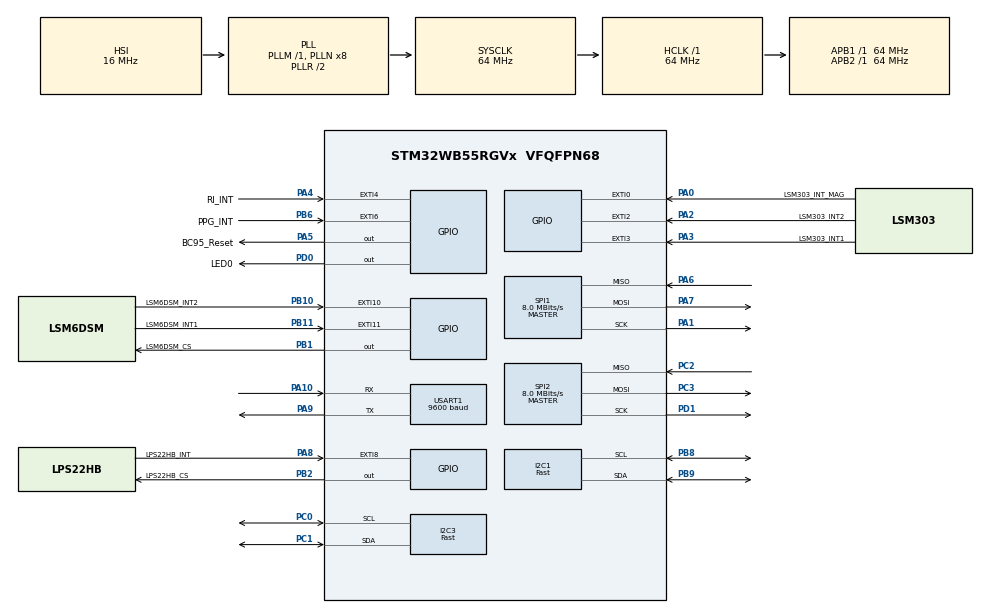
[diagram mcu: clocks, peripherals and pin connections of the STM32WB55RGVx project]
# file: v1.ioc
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Dma.MEMTOMEM.0.Direction=DMA_MEMORY_TO_MEMORY
Dma.MEMTOMEM.0.EventEnable=DISABLE
Dma.MEMTOMEM.0.Instance=DMA1_Channel1
Dma.MEMTOMEM.0.MemDataAlignment=DMA_MDATAALIGN_BYTE
Dma.MEMTOMEM.0.MemInc=DMA_MINC_ENABLE
Dma.MEMTOMEM.0.Mode=DMA_NORMAL
Dma.MEMTOMEM.0.PeriphDataAlignment=DMA_PDATAALIGN_BYTE
Dma.MEMTOMEM.0.PeriphInc=DMA_PINC_ENABLE
Dma.MEMTOMEM.0.Polarity=HAL_DMAMUX_REQ_GEN_RISING
Dma.MEMTOMEM.0.Priority=DMA_PRIORITY_LOW
Dma.MEMTOMEM.0.RequestNumber=1
Dma.MEMTOMEM.0.SignalID=NONE
Dma.MEMTOMEM.0.SyncEnable=DISABLE
Dma.MEMTOMEM.0.SyncPolarity=HAL_DMAMUX_SYNC_NO_EVENT
Dma.MEMTOMEM.0.SyncRequestNumber=1
Dma.MEMTOMEM.0.SyncSignalID=NONE
Dma.Request0=MEMTOMEM
Dma.Request1=USART1_RX
Dma.USART1_RX.1.Direction=DMA_PERIPH_TO_MEMORY
Dma.USART1_RX.1.EventEnable=DISABLE
Dma.USART1_RX.1.Instance=DMA1_Channel2
Dma.USART1_RX.1.MemDataAlignment=DMA_MDATAALIGN_BYTE
Dma.USART1_RX.1.MemInc=DMA_MINC_ENABLE
Dma.USART1_RX.1.Mode=DMA_CIRCULAR
Dma.USART1_RX.1.PeriphDataAlignment=DMA_PDATAALIGN_BYTE
Dma.USART1_RX.1.PeriphInc=DMA_PINC_DISABLE
Dma.USART1_RX.1.Polarity=HAL_DMAMUX_REQ_GEN_RISING
Dma.USART1_RX.1.Priority=DMA_PRIORITY_LOW
Dma.USART1_RX.1.RequestNumber=1
Dma.USART1_RX.1.SignalID=NONE
Dma.USART1_RX.1.SyncEnable=DISABLE
Dma.USART1_RX.1.SyncPolarity=HAL_DMAMUX_SYNC_NO_EVENT
Dma.USART1_RX.1.SyncRequestNumber=1
Dma.USART1_RX.1.SyncSignalID=NONE
FREERTOS.INCLUDE_eTaskGetState=1
FREERTOS.INCLUDE_xEventGroupSetBitFromISR=1
FREERTOS.INCLUDE_xTaskGetCurrentTaskHandle=1
FREERTOS.INCLUDE_xTimerPendFunctionCall=1
FREERTOS.MEMORY_ALLOCATION=2
FREERTOS.Tasks01=defaultTask,0,128,StartDefaultTask,Default,NULL,Dynamic,NULL,NULL
FREERTOS.configENABLE_FPU=1
FREERTOS.configTOTAL_HEAP_SIZE=8000
FREERTOS.configUSE_COUNTING_SEMAPHORES=0
FREERTOS.configUSE_TICKLESS_IDLE=2
FREERTOS.configUSE_TIMERS=1
I2C1.I2C_Speed_Mode=I2C_Fast
I2C1.Timing=0x00602173
I2C3.I2C_Speed_Mode=I2C_Fast
I2C3.Timing=0x00602173
Mcu.Family=STM32WB
Mcu.Name=STM32WB55RGVx
Mcu.Package=VFQFPN68
NVIC.DMA1_Channel2_IRQn=true\:5\:0\:true\:false\:true\:true\:false\:true
NVIC.EXTI0_IRQn=true\:10\:0\:true\:false\:true\:false\:true\:true
NVIC.EXTI15_10_IRQn=true\:10\:0\:true\:false\:true\:false\:true\:true
NVIC.EXTI2_IRQn=true\:10\:0\:true\:false\:true\:false\:true\:true
NVIC.EXTI3_IRQn=true\:10\:0\:true\:false\:true\:false\:true\:true
NVIC.EXTI9_5_IRQn=true\:11\:0\:true\:false\:true\:false\:true\:true
NVIC.PriorityGroup=NVIC_PRIORITYGROUP_4
NVIC.TIM1_UP_TIM16_IRQn=true\:0\:0\:false\:false\:true\:false\:false\:true
NVIC.TimeBase=TIM1_UP_TIM16_IRQn
NVIC.TimeBaseIP=TIM1
OSC_IN.Mode=HSE-External-Oscillator
OSC_IN.Signal=RCC_OSC_IN
OSC_OUT.Mode=HSE-External-Oscillator
OSC_OUT.Signal=RCC_OSC_OUT
PA0.GPIO_Label=LSM303_INT_MAG
PA0.Signal=GPXTI0
PA1.GPIO_Speed=GPIO_SPEED_FREQ_HIGH
PA1.Mode=Full_Duplex_Master
PA1.Signal=SPI1_SCK
PA10.Mode=Asynchronous
PA10.Signal=USART1_RX
PA13.Mode=JTAG_5_pins
PA13.Signal=SYS_JTMS-SWDIO
PA14.Mode=JTAG_5_pins
PA14.Signal=SYS_JTCK-SWCLK
PA15.Mode=JTAG_5_pins
PA15.Signal=SYS_JTDI
PA2.GPIO_Label=LSM303_INT2
PA2.GPIO_ModeDefaultEXTI=GPIO_MODE_IT_RISING
PA2.Signal=GPXTI2
PA3.GPIO_Label=LSM303_INT1
PA3.Signal=GPXTI3
PA4.GPIO_Label=RI_INT
PA4.Signal=GPXTI4
PA5.GPIO_Label=BC95_Reset
PA5.PinState=GPIO_PIN_SET
PA5.Signal=GPIO_Output
PA6.GPIO_Speed=GPIO_SPEED_FREQ_HIGH
PA6.Mode=Full_Duplex_Master
PA6.Signal=SPI1_MISO
PA7.GPIO_Speed=GPIO_SPEED_FREQ_HIGH
PA7.Mode=Full_Duplex_Master
PA7.Signal=SPI1_MOSI
PA8.GPIO_Label=LPS22HB_INT
PA8.Signal=GPXTI8
PA9.Mode=Asynchronous
PA9.Signal=USART1_TX
PB1.GPIO_Label=LSM6DSM_CS
PB1.GPIO_Speed=GPIO_SPEED_FREQ_HIGH
PB1.PinState=GPIO_PIN_SET
PB1.Signal=GPIO_Output
PB10.GPIO_Label=LSM6DSM_INT2
PB10.Signal=GPXTI10
PB11.GPIO_Label=LSM6DSM_INT1
PB11.Signal=GPXTI11
PB2.GPIO_Label=LPS22HB_CS
PB2.GPIO_Speed=GPIO_SPEED_FREQ_HIGH
PB2.PinState=GPIO_PIN_SET
PB2.Signal=GPIO_Output
PB3.Mode=JTAG_5_pins
PB3.Signal=SYS_JTDO-SWO
PB4.Mode=JTAG_5_pins
PB4.Signal=SYS_JTRST
PB6.GPIO_Label=PPG_INT
PB6.GPIO_ModeDefaultEXTI=GPIO_MODE_IT_FALLING
PB6.GPIO_PuPd=GPIO_PULLUP
PB6.Signal=GPXTI6
PB8.GPIO_Speed=GPIO_SPEED_FREQ_HIGH
PB8.Mode=I2C
PB8.Signal=I2C1_SCL
PB9.GPIO_Speed=GPIO_SPEED_FREQ_HIGH
PB9.Mode=I2C
PB9.Signal=I2C1_SDA
PC0.Mode=I2C
PC0.Signal=I2C3_SCL
PC1.Mode=I2C
PC1.Signal=I2C3_SDA
PC14-OSC32_IN.Mode=LSE-External-Oscillator
PC14-OSC32_IN.Signal=RCC_OSC32_IN
PC15-OSC32_OUT.Mode=LSE-External-Oscillator
PC15-OSC32_OUT.Signal=RCC_OSC32_OUT
PC2.GPIO_Speed=GPIO_SPEED_FREQ_HIGH
PC2.Mode=Full_Duplex_Master
PC2.Signal=SPI2_MISO
PC3.GPIO_Speed=GPIO_SPEED_FREQ_HIGH
PC3.Mode=Full_Duplex_Master
PC3.Signal=SPI2_MOSI
PD0.GPIO_Label=LED0
PD0.PinState=GPIO_PIN_SET
PD0.Signal=GPIO_Output
PD1.GPIO_Speed=GPIO_SPEED_FREQ_HIGH
PD1.Mode=Full_Duplex_Master
PD1.Signal=SPI2_SCK
ProjectManager.HeapSize=0x200
ProjectManager.StackSize=0x400
ProjectManager.TargetToolchain=STM32CubeIDE
RCC.ADCFreq_Value=96000000
RCC.AHB2CLKDivider=RCC_SYSCLK_DIV2
RCC.AHBFreq_Value=64000000
RCC.APB1Freq_Value=64000000
RCC.APB1TimFreq_Value=64000000
RCC.APB2Freq_Value=64000000
RCC.APB2TimFreq_Value=64000000
RCC.APB3Freq_Value=4000000
RCC.CortexFreq_Value=64000000
RCC.HCLKFreq_Value=64000000
RCC.HSE_VALUE=8000000
RCC.HSI48_VALUE=48000000
RCC.HSI_VALUE=16000000
RCC.PLLP=RCC_PLLP_DIV31
RCC.PLLSAI1N=12
RCC.PLLSAI1P=RCC_PLLP_DIV6
RCC.PLLSourceVirtual=RCC_PLLSOURCE_HSI
RCC.RTCClockSelection=RCC_RTCCLKSOURCE_LSE
RCC.SAI1CLockSelection=RCC_SAI1CLKSOURCE_PLL
RCC.SYSCLKFreq_VALUE=64000000
RCC.SYSCLKSource=RCC_SYSCLKSOURCE_PLLCLK
RCC.USBFreq_Value=96000000
RCC.VCOOutputFreq_Value=128000000
RTC.Alarm-Alarm\ A=RTC_ALARM_A
RTC.AsynchPrediv=7
RTC.SynchPrediv=4095
SPI1.BaudRatePrescaler=SPI_BAUDRATEPRESCALER_8
SPI1.CLKPhase=SPI_PHASE_2EDGE
SPI1.CLKPolarity=SPI_POLARITY_HIGH
SPI1.CalculateBaudRate=8.0 MBits/s
SPI1.DataSize=SPI_DATASIZE_8BIT
SPI1.Direction=SPI_DIRECTION_2LINES
SPI1.Mode=SPI_MODE_MASTER
SPI1.VirtualType=VM_MASTER
SPI2.BaudRatePrescaler=SPI_BAUDRATEPRESCALER_8
SPI2.CLKPhase=SPI_PHASE_2EDGE
SPI2.CLKPolarity=SPI_POLARITY_HIGH
SPI2.CalculateBaudRate=8.0 MBits/s
SPI2.DataSize=SPI_DATASIZE_8BIT
SPI2.Direction=SPI_DIRECTION_2LINES
SPI2.Mode=SPI_MODE_MASTER
SPI2.VirtualType=VM_MASTER
USART1.BaudRate=9600
USART1.VirtualMode-Asynchronous=VM_ASYNC
VP_FREERTOS_VS_CMSIS_V1.Mode=CMSIS_V1
VP_RTC_VS_RTC_Activate.Mode=RTC_Enabled
VP_RTC_VS_RTC_Alarm_A_Intern.Mode=Alarm A
VP_RTC_VS_RTC_Calendar.Mode=RTC_Calendar
VP_RTC_VS_RTC_WakeUp_intern.Mode=WakeUp
VP_SYS_VS_tim1.Mode=TIM1
board=custom

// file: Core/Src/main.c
/* USER CODE BEGIN Header */
/**
  ******************************************************************************
  * @file           : main.c
  * @brief          : Main program body
  ******************************************************************************
  * @attention
  *
  * <h2><center>&copy; Copyright (c) 2020 STMicroelectronics.
  * All rights reserved.</center></h2>
  *
  * This software component is licensed by ST under Ultimate Liberty license
  * SLA0044, the "License"; You may not use this file except in compliance with
  * the License. You may obtain a copy of the License at:
  *                             www.st.com/SLA0044
  *
  ******************************************************************************
  */
/* USER CODE END Header */
#include "main.h"
#include "cmsis_os.h"
#include "dma.h"
#include "i2c.h"
#include "rtc.h"
#include "spi.h"
#include "usart.h"
#include "gpio.h"

/* USER CODE BEGIN Includes */
#include "Int_Sensors.h"
#include "BC95_Def.h"
#include "Display.h"
/* USER CODE END Includes */

void SystemClock_Config(void);
void MX_FREERTOS_Init(void);

int main(void)
{

  /* MCU Configuration--------------------------------------------------------*/

  /* Reset of all peripherals, Initializes the Flash interface and the Systick. */
  HAL_Init();

  /* USER CODE BEGIN Init */

  //HAL_PWREx_HoldCore(PWR_CORE_CPU2);
  HAL_PWREx_DisableBatteryCharging();
  HAL_PWREx_DisableVddUSB();
  //HAL_PWREx_DisableInternalWakeUpLine();
  //HAL_PWREx_EnableFlashPowerDown(PWR_FLASHPD_LPRUN|PWR_FLASHPD_LPSLEEP);

  /* USER CODE END Init */

  /* Configure the system clock */
  SystemClock_Config();

  /* Initialize all configured peripherals */
  MX_GPIO_Init();
  MX_DMA_Init();
  MX_I2C1_Init();
  MX_I2C3_Init();
  MX_RTC_Init();
  MX_SPI2_Init();
  MX_SPI1_Init();
  MX_USART1_UART_Init();

  /* Call init function for freertos objects (in freertos.c) */
  MX_FREERTOS_Init();
  /* Start scheduler */
  osKernelStart();

  /* We should never get here as control is now taken by the scheduler */
  /* Infinite loop */
  while (1)
  {

  }
}

void SystemClock_Config(void)
{
  RCC_OscInitTypeDef RCC_OscInitStruct = {0};
  RCC_ClkInitTypeDef RCC_ClkInitStruct = {0};
  RCC_PeriphCLKInitTypeDef PeriphClkInitStruct = {0};

  /** Configure LSE Drive Capability
  */
  HAL_PWR_EnableBkUpAccess();
  __HAL_RCC_LSEDRIVE_CONFIG(RCC_LSEDRIVE_LOW);
  /** Configure the main internal regulator output voltage
  */
  __HAL_PWR_VOLTAGESCALING_CONFIG(PWR_REGULATOR_VOLTAGE_SCALE1);
  /** Initializes the RCC Oscillators according to the specified parameters
  * in the RCC_OscInitTypeDef structure.
  */
  RCC_OscInitStruct.OscillatorType = RCC_OSCILLATORTYPE_HSI|RCC_OSCILLATORTYPE_HSE
                              |RCC_OSCILLATORTYPE_LSE;
  RCC_OscInitStruct.HSEState = RCC_HSE_ON;
  RCC_OscInitStruct.LSEState = RCC_LSE_ON;
  RCC_OscInitStruct.HSIState = RCC_HSI_ON;
  RCC_OscInitStruct.HSICalibrationValue = RCC_HSICALIBRATION_DEFAULT;
  RCC_OscInitStruct.PLL.PLLState = RCC_PLL_ON;
  RCC_OscInitStruct.PLL.PLLSource = RCC_PLLSOURCE_HSI;
  RCC_OscInitStruct.PLL.PLLM = RCC_PLLM_DIV1;
  RCC_OscInitStruct.PLL.PLLN = 8;
  RCC_OscInitStruct.PLL.PLLP = RCC_PLLP_DIV31;
  RCC_OscInitStruct.PLL.PLLR = RCC_PLLR_DIV2;
  RCC_OscInitStruct.PLL.PLLQ = RCC_PLLQ_DIV2;
  if (HAL_RCC_OscConfig(&RCC_OscInitStruct) != HAL_OK)
  {
    Error_Handler();
  }
  /** Configure the SYSCLKSource, HCLK, PCLK1 and PCLK2 clocks dividers
  */
  RCC_ClkInitStruct.ClockType = RCC_CLOCKTYPE_HCLK4|RCC_CLOCKTYPE_HCLK2
                              |RCC_CLOCKTYPE_HCLK|RCC_CLOCKTYPE_SYSCLK
                              |RCC_CLOCKTYPE_PCLK1|RCC_CLOCKTYPE_PCLK2;
  RCC_ClkInitStruct.SYSCLKSource = RCC_SYSCLKSOURCE_PLLCLK;
  RCC_ClkInitStruct.AHBCLKDivider = RCC_SYSCLK_DIV1;
  RCC_ClkInitStruct.APB1CLKDivider = RCC_HCLK_DIV1;
  RCC_ClkInitStruct.APB2CLKDivider = RCC_HCLK_DIV1;
  RCC_ClkInitStruct.AHBCLK2Divider = RCC_SYSCLK_DIV2;
  RCC_ClkInitStruct.AHBCLK4Divider = RCC_SYSCLK_DIV1;

  if (HAL_RCC_ClockConfig(&RCC_ClkInitStruct, FLASH_LATENCY_3) != HAL_OK)
  {
    Error_Handler();
  }
  /** Initializes the peripherals clocks
  */
  PeriphClkInitStruct.PeriphClockSelection = RCC_PERIPHCLK_SMPS|RCC_PERIPHCLK_RTC
                              |RCC_PERIPHCLK_USART1|RCC_PERIPHCLK_I2C1
                              |RCC_PERIPHCLK_I2C3;
  PeriphClkInitStruct.Usart1ClockSelection = RCC_USART1CLKSOURCE_PCLK2;
  PeriphClkInitStruct.I2c1ClockSelection = RCC_I2C1CLKSOURCE_PCLK1;
  PeriphClkInitStruct.I2c3ClockSelection = RCC_I2C3CLKSOURCE_PCLK1;
  PeriphClkInitStruct.RTCClockSelection = RCC_RTCCLKSOURCE_LSE;
  PeriphClkInitStruct.SmpsClockSelection = RCC_SMPSCLKSOURCE_HSI;
  PeriphClkInitStruct.SmpsDivSelection = RCC_SMPSCLKDIV_RANGE1;
  if (HAL_RCCEx_PeriphCLKConfig(&PeriphClkInitStruct) != HAL_OK)
  {
    Error_Handler();
  }
}

/* USER CODE BEGIN 4 */

#pragma GCC push_options
#pragma GCC optimize ("O3")

void HAL_GPIO_EXTI_Callback(uint16_t GPIO_Pin){

	/* LSM303 IRQ */
	if (GPIO_Pin == LSM303_INT_MAG_Pin){
		LSM303AGR_DRDY_Callback();
	}
	/* LSM303 IRQ */
	else if (GPIO_Pin == LSM303_INT2_Pin){
		LSM303AGR_INT2_Callback();
	}
	/* LSM303 IRQ */
	else if (GPIO_Pin == LSM303_INT1_Pin){
		LSM303AGR_INT1_Callback();
	}
	/* LPS22HB IRQ */
	else if (GPIO_Pin == LPS22HB_INT_Pin){
		LPS22HB_Callback();
	}
	/* LSM6DSM IRQ */
	else if (GPIO_Pin == LSM6DSM_INT1_Pin){
		LSM6DSM_Callback();
	}
	/* MAX30101 IRQ */
	else if (GPIO_Pin == PPG_INT_Pin){
		/* check the pin value */
		/* active low */
		if(!HAL_GPIO_ReadPin(PPG_INT_GPIO_Port,PPG_INT_Pin)){
			MAX30101_Callback();
		}
	}

}

/* An event group which it is assumed has already been created by a call to
xEventGroupCreate(). */
void GLOB_SET_EVT( void* xEventGroup, uint32_t x )
{
	BaseType_t xHigherPriorityTaskWoken, xResult;

	/* check if the event is initialized */
	if(xEventGroup == NULL){
		/* avoid errors */
		return;
	}

	/* xHigherPriorityTaskWoken must be initialised to pdFALSE. */
	xHigherPriorityTaskWoken = pdFALSE;

	/* Set bit 0 and bit 4 in xEventGroup. */
	xResult = xEventGroupSetBitsFromISR(
			xEventGroup,   /* The event group being updated. */
			x, /* The bits being set. */
			&xHigherPriorityTaskWoken );

	/* Was the message posted successfully? */
	if( xResult != pdFAIL )
	{
		/* If xHigherPriorityTaskWoken is now set to pdTRUE then a context
      switch should be requested.  The macro used is port specific and will
      be either portYIELD_FROM_ISR() or portEND_SWITCHING_ISR() - refer to
      the documentation page for the port being used. */
		portYIELD_FROM_ISR( xHigherPriorityTaskWoken );
	}
}

#pragma GCC pop_options

/* USER CODE END 4 */

void HAL_TIM_PeriodElapsedCallback(TIM_HandleTypeDef *htim)
{
  if (htim->Instance == TIM1) {
    HAL_IncTick();
  }
}

void Error_Handler(void)
{
}

/************************ (C) COPYRIGHT STMicroelectronics *****END OF FILE****/

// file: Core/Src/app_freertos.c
/* USER CODE BEGIN Header */
/**
  ******************************************************************************
  * File Name          : app_freertos.c
  * Description        : Code for freertos applications
  ******************************************************************************
  * @attention
  *
  * <h2><center>&copy; Copyright (c) 2020 STMicroelectronics.
  * All rights reserved.</center></h2>
  *
  * This software component is licensed by ST under Ultimate Liberty license
  * SLA0044, the "License"; You may not use this file except in compliance with
  * the License. You may obtain a copy of the License at:
  *                             www.st.com/SLA0044
  *
  ******************************************************************************
  */
/* USER CODE END Header */

#include "FreeRTOS.h"
#include "task.h"
#include "main.h"
#include "cmsis_os.h"

/* USER CODE BEGIN Includes */

#include "macro.h"
#include "Int_Sensors.h"
#include "BC95_Def.h"
#include "Display.h"

/* USER CODE END Includes */

/* USER CODE BEGIN Variables */

osThreadId IntSensors_TaskHandle;
osThreadId BC95_TaskHandle;
osThreadId Display_TaskHandle;

static int32_t en_deepsleep = 0;
#define DEEP_SLEEP_OK()			(en_deepsleep == 0)

/* USER CODE END Variables */
osThreadId defaultTaskHandle;

void StartDefaultTask(void const * argument);

void MX_FREERTOS_Init(void); /* (MISRA C 2004 rule 8.1) */

/* GetIdleTaskMemory prototype (linked to static allocation support) */
void vApplicationGetIdleTaskMemory( StaticTask_t **ppxIdleTaskTCBBuffer, StackType_t **ppxIdleTaskStackBuffer, uint32_t *pulIdleTaskStackSize );

/* GetTimerTaskMemory prototype (linked to static allocation support) */
void vApplicationGetTimerTaskMemory( StaticTask_t **ppxTimerTaskTCBBuffer, StackType_t **ppxTimerTaskStackBuffer, uint32_t *pulTimerTaskStackSize );

/* USER CODE BEGIN VPORT_SUPPORT_TICKS_AND_SLEEP */

#pragma GCC push_options
#pragma GCC optimize ("O3")

/**
 * @brief Switch the system clock on HSI
 * @param none
 * @retval none
 */
static inline void Switch_On_HSI( void )
{
	LL_RCC_HSI_Enable( );
	while(!LL_RCC_HSI_IsReady( ));
	LL_RCC_SetSysClkSource( LL_RCC_SYS_CLKSOURCE_HSI );
	LL_RCC_SetSMPSClockSource(LL_RCC_SMPS_CLKSOURCE_HSI);
	while (LL_RCC_GetSysClkSource( ) != LL_RCC_SYS_CLKSOURCE_STATUS_HSI);
}

/**
 * @brief Switch the system clock on HSI
 * @param none
 * @retval none
 */
static inline void Exit_Stop( void )
{
	/* Enable clock source back */
	if(LL_RCC_GetSysClkSource( ) == LL_RCC_SYS_CLKSOURCE_STATUS_HSI)
	{
		LL_RCC_HSI_Enable( );
		LL_RCC_HSE_Enable( );
		LL_RCC_PLL_Enable( );
		while(!LL_RCC_HSI_IsReady( ));
		while(!LL_RCC_HSE_IsReady( ));
		while(!LL_RCC_PLL_IsReady( ));
		LL_RCC_SetSysClkSource(LL_RCC_SYS_CLKSOURCE_PLL);
		while (LL_RCC_GetSysClkSource( ) != LL_RCC_SYS_CLKSOURCE_STATUS_PLL);
	}
}

#pragma GCC pop_options

__weak void vPortSuppressTicksAndSleep( TickType_t xExpectedIdleTime )
{
  // Generated when configUSE_TICKLESS_IDLE == 2.
  // Function called in tasks.c (in portTASK_FUNCTION).
  // TO BE COMPLETED or TO BE REPLACED by a user one, overriding that weak one.

#if CHECK_HEAP_RUNTIME

	volatile size_t xFreeStackSpace;

	/* The idle task hook is enabled by setting configUSE_IDLE_HOOK to 1 in
	    FreeRTOSConfig.h.

	    This function is called on each cycle of the idle task.  In this case it
	    does nothing useful, other than report the amount of FreeRTOS heap that
	    remains unallocated. */
	xFreeStackSpace = xPortGetFreeHeapSize();

	if( xFreeStackSpace < 100 )
	{
		/* By now, the kernel has allocated everything it is going to, so
	        if there is a lot of heap remaining unallocated then
	        the value of configTOTAL_HEAP_SIZE in FreeRTOSConfig.h can be
	        reduced accordingly. */
		while(1);
	}

#endif

#if (RTOS_SLEEP_EN) && (!DEEP_SLEEP_EN)

	DISABLE_IRQ();
	/* sleep MCU */
	HAL_PWR_EnterSLEEPMode(PWR_MAINREGULATOR_ON, PWR_SLEEPENTRY_WFI);
	ENABLE_IRQ();

#endif

#if DEEP_SLEEP_EN
	if(DEEP_SLEEP_OK()){

		CRITICAL_SECTION_BEGIN();

		HAL_SuspendTick();

		/*clear wake up flag*/
		LL_PWR_ClearFlag_WU( );

		/* clear EXTI flags */
		//LL_EXTI_ClearFlag_0_31(LL_EXTI_LINE_ALL_0_31);
		//LL_EXTI_ClearFlag_32_63(LL_EXTI_LINE_ALL_32_63);

		/*        2.2.9 Incomplete Stop 2 mode entry after a wakeup from debug upon EXTI line 48 event
		 *        "With the JTAG debugger enabled on GPIO pins and after a wakeup from debug triggered by an event on EXTI
		 *        line 48 (CDBGPWRUPREQ), the device may enter in a state in which attempts to enter Stop 2 mode are not fully
		 *        effective ..."
		 *        Workaround implementation example using LL driver:
		 */
		LL_EXTI_DisableIT_32_63(LL_EXTI_LINE_48);
		LL_C2_EXTI_DisableIT_32_63(LL_EXTI_LINE_48);

		LL_RCC_SetClkAfterWakeFromStop(LL_RCC_STOP_WAKEUPCLOCK_HSI);
		Switch_On_HSI();

#ifdef STM32WB55xx
		/* Set Stop 2 mode of CPU2 */
		LL_C2_PWR_SetPowerMode(LL_PWR_MODE_STOP2);
#endif
		/* Request to enter Stop 2 mode */
		HAL_PWREx_EnterSTOP2Mode(PWR_STOPENTRY_WFI);

		Exit_Stop();

		HAL_ResumeTick();

		CRITICAL_SECTION_END( );

		/* Clear Wake Up Flag */
		__HAL_PWR_CLEAR_FLAG(PWR_FLAG_WU);

	}else{
		DISABLE_IRQ();
		/* sleep MCU */
		HAL_PWR_EnterSLEEPMode(PWR_MAINREGULATOR_ON, PWR_SLEEPENTRY_WFI);
		ENABLE_IRQ();
	}
#endif

}
/* USER CODE END VPORT_SUPPORT_TICKS_AND_SLEEP */

/* USER CODE BEGIN GET_IDLE_TASK_MEMORY */
static StaticTask_t xIdleTaskTCBBuffer;
static StackType_t xIdleStack[configMINIMAL_STACK_SIZE];

void vApplicationGetIdleTaskMemory( StaticTask_t **ppxIdleTaskTCBBuffer, StackType_t **ppxIdleTaskStackBuffer, uint32_t *pulIdleTaskStackSize )
{
  *ppxIdleTaskTCBBuffer = &xIdleTaskTCBBuffer;
  *ppxIdleTaskStackBuffer = &xIdleStack[0];
  *pulIdleTaskStackSize = configMINIMAL_STACK_SIZE;
  /* place for user code */
}
/* USER CODE END GET_IDLE_TASK_MEMORY */

/* USER CODE BEGIN GET_TIMER_TASK_MEMORY */
static StaticTask_t xTimerTaskTCBBuffer;
static StackType_t xTimerStack[configTIMER_TASK_STACK_DEPTH];

void vApplicationGetTimerTaskMemory( StaticTask_t **ppxTimerTaskTCBBuffer, StackType_t **ppxTimerTaskStackBuffer, uint32_t *pulTimerTaskStackSize )
{
  *ppxTimerTaskTCBBuffer = &xTimerTaskTCBBuffer;
  *ppxTimerTaskStackBuffer = &xTimerStack[0];
  *pulTimerTaskStackSize = configTIMER_TASK_STACK_DEPTH;
  /* place for user code */
}
/* USER CODE END GET_TIMER_TASK_MEMORY */

void MX_FREERTOS_Init(void) {

  /* Create the thread(s) */
  /* definition and creation of defaultTask */
  osThreadDef(defaultTask, StartDefaultTask, osPriorityNormal, 0, 128);
  defaultTaskHandle = osThreadCreate(osThread(defaultTask), NULL);

  /* USER CODE BEGIN RTOS_THREADS */
  osThreadDef(InSensorsTask, IntSensors_Task, osPriorityAboveNormal, 0, 256);
  IntSensors_TaskHandle = osThreadCreate(osThread(InSensorsTask), TRUE);			// TRUE

//  osThreadDef(InBC95, BC95_op, osPriorityNormal, 0, 512);
//  BC95_TaskHandle = osThreadCreate(osThread(InBC95), TRUE);

  osThreadDef(Dis_Task, Display_Task, osPriorityLow, 0, 512);
  Display_TaskHandle = osThreadCreate(osThread(Dis_Task), NULL);					// TRUE

  /* USER CODE END RTOS_THREADS */

}

void StartDefaultTask(void const * argument)
{
  /* USER CODE BEGIN StartDefaultTask */
  /* Infinite loop */
  for(;;)
  {
    osDelay(1000);
  }
  /* USER CODE END StartDefaultTask */
}

/* USER CODE BEGIN Application */

void Mngm_DeepSleep_en (uint8_t d){
	if (d){
		en_deepsleep--;
	}else{
		en_deepsleep++;
	}
}

/* USER CODE END Application */

/************************ (C) COPYRIGHT STMicroelectronics *****END OF FILE****/
